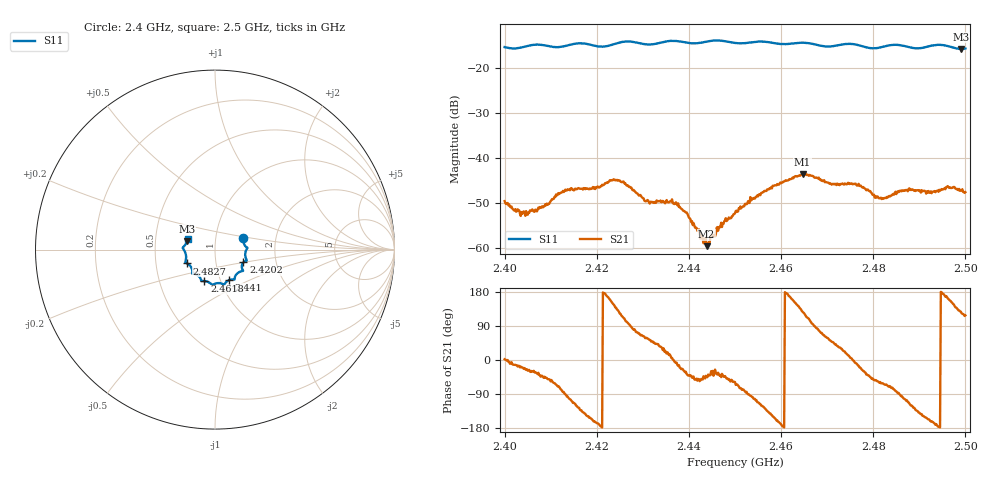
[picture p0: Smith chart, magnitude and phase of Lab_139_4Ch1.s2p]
# Hz S RI R 50
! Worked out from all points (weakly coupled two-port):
!   601 points, 2.4 GHz to 2.5 GHz, reference 50 ohm
!   highest |S21| = -43.62 dB at 2.4647 GHz (marker M1); lowest = -59.7 dB at 2.4438 GHz (marker M2)
!   lowest |S11| = -15.8 dB at 2.499 GHz (marker M3), VSWR 1.39, Z = 36.4 + j3.47 ohm
!   |S11| at or under -10 dB: start of sweep to end of sweep
!   S12 and S22 are empty: the file has one direction only
!   S11 on the Smith chart (normalised r, x): 2.4 GHz: 1.36, +0.18; 2.4202 GHz: 1.36, -0.20; 2.441 GHz: 1.10, -0.39; 2.4618 GHz: 0.84, -0.30; 2.4827 GHz: 0.72, -0.12; 2.5 GHz: 0.73, +0.09
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2.4e9  0.158 0.0625  0.00329 0.000117  0 0  0 0
2.404833e9  0.1738 0.015  0.00219 -0.00099  0 0  0 0
2.412667e9  0.1689 -0.0361  0.000398 -0.00426  0 0  0 0
2.416667e9  0.1771 -0.0607  -0.00306 -0.00333  0 0  0 0
2.420167e9  0.1582 -0.0712  -0.00467 -0.00105  0 0  0 0
2.4245e9  0.153 -0.1104  -0.00381 0.00418  0 0  0 0
2.431e9  0.1266 -0.1305  0.00185 0.00283  0 0  0 0
2.433333e9  0.1115 -0.151  0.00246 0.0022  0 0  0 0
2.4375e9  0.1064 -0.1672  0.00288 -0.000667  0 0  0 0
2.441e9  0.0787 -0.1696  0.00136 -0.00129  0 0  0 0
2.443833e9  0.0563 -0.1873  0.000738 -0.00073  0 0  0 0
2.45e9  0.0284 -0.1869  0.00126 -0.00204  0 0  0 0
2.461833e9  -0.0595 -0.1753  -0.00566 0.00123  0 0  0 0
2.464667e9  -0.0755 -0.1746  -0.004 0.00525  0 0  0 0
2.466667e9  -0.0783 -0.1681  -0.000693 0.00626  0 0  0 0
2.471e9  -0.1042 -0.1385  0.00335 0.00374  0 0  0 0
2.476333e9  -0.1271 -0.1287  0.00494 -0.000779  0 0  0 0
2.482667e9  -0.1561 -0.0773  0.00151 -0.00325  0 0  0 0
2.483333e9  -0.1604 -0.0753  0.00126 -0.0035  0 0  0 0
2.488167e9  -0.161 -0.0474  -0.00222 -0.00382  0 0  0 0
2.499e9  -0.1554 0.0464  -0.00265 0.00342  0 0  0 0
2.5e9  -0.1521 0.0609  -0.00193 0.00366  0 0  0 0
